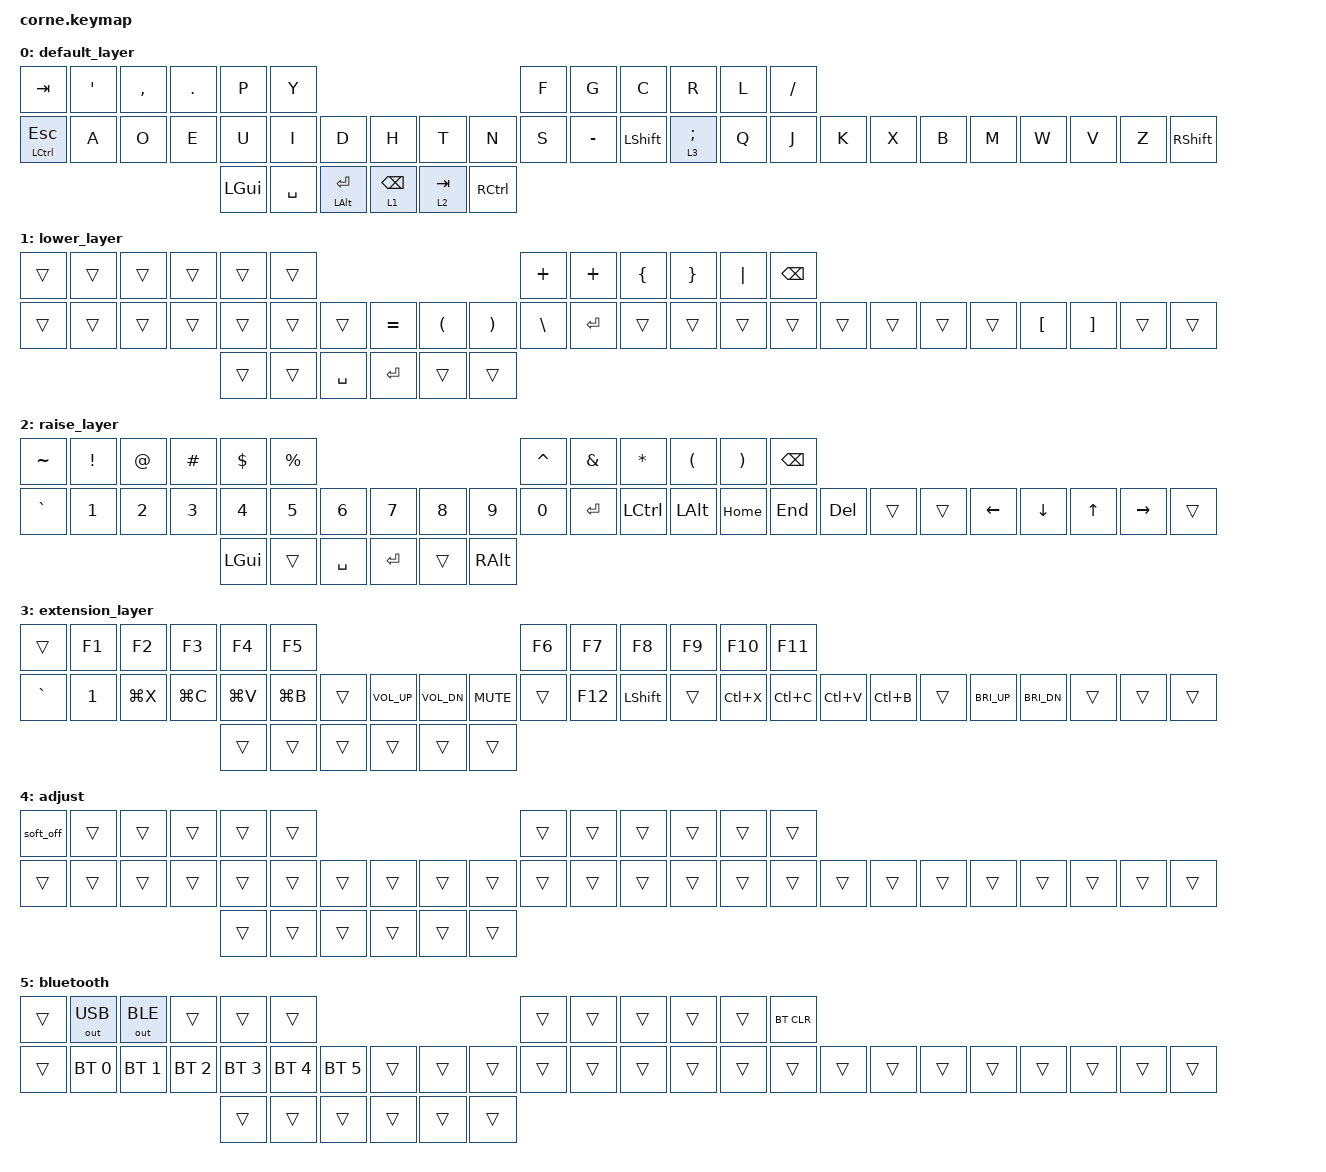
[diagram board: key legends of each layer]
/*
 * Copyright (c) 2020 The ZMK Contributors
 *
 * SPDX-License-Identifier: MIT
 */

#include <behaviors.dtsi>
#include <dt-bindings/zmk/keys.h>
#include <dt-bindings/zmk/bt.h>
#include <dt-bindings/zmk/outputs.h>

&lt {
  tapping-term-ms = <140>;
};

&mt {
  tapping-term-ms = <140>;
};

/ {
        conditional_layers {
            compatible = "zmk,conditional-layers";
            adjust_layer {
                if-layers = <1 2>;
                then-layer = <4>;
            };
            bluetooth_layer {
                if-layers = <1 2 3>;
                then-layer = <5>;
            };
        };
        keymap {
                compatible = "zmk,keymap";

                default_layer {
// -----------------------------------------------------------------------------------------
// |  TAB |  '  |  ,  |  .  |  p  |  y  |   |  f  |  g   |  c  |  r  |  l  | / |
// | LCTR, Esc |  a  |  o  |  e  |  u  |  i  |   |  d  |  h   |  t  |  n  |  s  |  -   |
// | SHFT |  ;  |  q  |  j  |  k  |  x  |   |  b  |  m   |  w  |  v  |  z  | SHFT  |
//                    | CMD | SPC | LALT Ret |   | L1 backspace | L2 Tab  | RCTRL |
                        bindings = <
   &kp TAB   &kp SQT &kp COMMA &kp DOT &kp P &kp Y   &kp F &kp G  &kp C     &kp R   &kp L    &kp FSLH
   &mt LCTRL ESC &kp A &kp O &kp E &kp U &kp I   &kp D &kp H  &kp T     &kp N   &kp S &kp MINUS
   &kp LSHFT &lt 3 SEMI &kp Q &kp J &kp K &kp X   &kp B &kp M  &kp W &kp V &kp Z &kp RSHFT
                  &kp LGUI &kp SPACE &mt LALT RET   &lt 1 BKSP  &lt 2 TAB  &kp RCTRL
                        >;
                };
                lower_layer {
// -----------------------------------------------------------------------------------------
// |  TAB |  1  |  2  |  3  |  4  |  5  |   |  6  |  7  |  8  |  9  |  0  | BKSP |
// | BTCLR| BT1 | BT2 | BT3 | BT4 | BT5 |   | LFT | DWN |  UP | RGT |     |      |
// | SHFT |     |     |     |     |     |   |     |     |     |     |     |      |
//                    | GUI |     | SPC |   | ENT |     | ALT |
                        bindings = <
   &trans    &trans   &trans   &trans       &trans       &trans         &kp PLUS   &kp PLUS   &kp LBRC   &kp RBRC    &kp PIPE &kp BSPC
   &trans &trans &trans &trans &trans &trans &trans  &kp EQUAL &kp LPAR  &kp RPAR &kp BSLH &kp RET
   &trans  &trans       &trans       &trans       &trans       &trans         &trans   &trans  &kp LBKT &kp RBKT &trans &trans
                                    &trans     &trans       &kp SPACE      &kp RET  &trans   &trans 
                        >;
                };

                raise_layer {
// -----------------------------------------------------------------------------------------
// |  TAB |  !  |  @  |  #  |  $  |  %  |   |  ^  |  &  |  *  |  (  |  )  | BKSP |
// | CTRL |     |     |     |     |     |   |  -  |  =  |  [  |  ]  |  \  |  `   |
// | SHFT |     |     |     |     |     |   |  _  |  +  |  {  |  }  | "|" |  ~   |
//                    | GUI |     | SPC |   | ENT |     | ALT |
                        bindings = <
   &kp  TILDE  &kp EXCL &kp AT &kp HASH &kp DLLR &kp PRCNT   &kp CARET &kp AMPS  &kp ASTERISK &kp LPAR &kp RPAR &kp BKSP
   &kp GRAVE &kp N1   &kp N2 &kp N3   &kp N4   &kp N5      &kp N6 &kp N7 &kp N8        &kp N9 &kp N0 &kp RET
   &kp LCTRL &kp LALT   &kp HOME &kp END   &kp DEL   &trans      &trans &kp LEFT &kp DOWN &kp UP  &kp RIGHT &trans
                             &kp LGUI &trans   &kp SPACE   &kp RET   &trans    &kp RALT
                        >;
                };

                extension_layer {
// -----------------------------------------------------------------------------------------
// |  TAB |  !  |  @  |  #  |  $  |  %  |   |  ^  |  &  |  *  |  (  |  )  | BKSP |
// | CTRL |     |     |     |     |     |   |  -  |  =  |  [  |  ]  |  \  |  `   |
// | SHFT |     |     |     |     |     |   |  _  |  +  |  {  |  }  | "|" |  ~   |
//                    | GUI |     | SPC |   | ENT |     | ALT |
                        bindings = <
   &trans  &kp F1 &kp F2 &kp F3 &kp F4 &kp F5   &kp F6 &kp F7  &kp F8 &kp F9 &kp F10 &kp F11
   &kp GRAVE &kp N1   &kp LG(X) &kp LG(C)   &kp LG(V)   &kp LG(B)      &trans &kp C_VOL_UP &kp C_VOL_DN &kp C_MUTE &trans &kp F12
   &kp LSHFT &trans   &kp LC(X) &kp LC(C)   &kp LC(V)   &kp LC(B)      &trans &kp C_BRI_UP &kp C_BRI_DN &trans  &trans &trans
                             &trans &trans   &trans   &trans &trans    &trans                        >;
                };

                adjust {
// -----------------------------------------------------------------------------------------
// |  TAB |  !  |  @  |  #  |  $  |  %  |   |  ^  |  &  |  *  |  (  |  )  | BKSP |
// | CTRL |     |     |     |     |     |   |  -  |  =  |  [  |  ]  |  \  |  `   |
// | SHFT |     |     |     |     |     |   |  _  |  +  |  {  |  }  | "|" |  ~   |
//                    | GUI |     | SPC |   | ENT |     | ALT |
                        bindings = <
   &soft_off  &trans   &trans   &trans       &trans       &trans         &trans   &trans   &trans   &trans &trans &trans
   &trans &trans &trans &trans &trans &trans &trans   &trans &trans  &trans &trans &trans   &trans &trans  &trans &trans &trans   &trans      &trans &trans &trans &trans &trans &trans
                             &trans &trans   &trans   &trans &trans  &trans                        >;
                };

                bluetooth {
// -----------------------------------------------------------------------------------------
// |  TAB |  !  |  @  |  #  |  $  |  %  |   |  ^  |  &  |  *  |  (  |  )  | BKSP |
// | CTRL |     |     |     |     |     |   |  -  |  =  |  [  |  ]  |  \  |  `   |
// | SHFT |     |     |     |     |     |   |  _  |  +  |  {  |  }  | "|" |  ~   |
//                    | GUI |     | SPC |   | ENT |     | ALT |
                        bindings = <
   &trans  &out OUT_USB   &out OUT_BLE   &trans       &trans       &trans         &trans   &trans   &trans   &trans &trans &bt BT_CLR
   &trans &bt BT_SEL 0 &bt BT_SEL 1 &bt BT_SEL 2 &bt BT_SEL 3 &bt BT_SEL 4 &bt BT_SEL 5   &trans &trans  &trans &trans &trans   &trans &trans  &trans &trans &trans   &trans      &trans &trans &trans &trans &trans &trans
                             &trans &trans   &trans   &trans &trans  &trans                        >;
                };
        };
};
